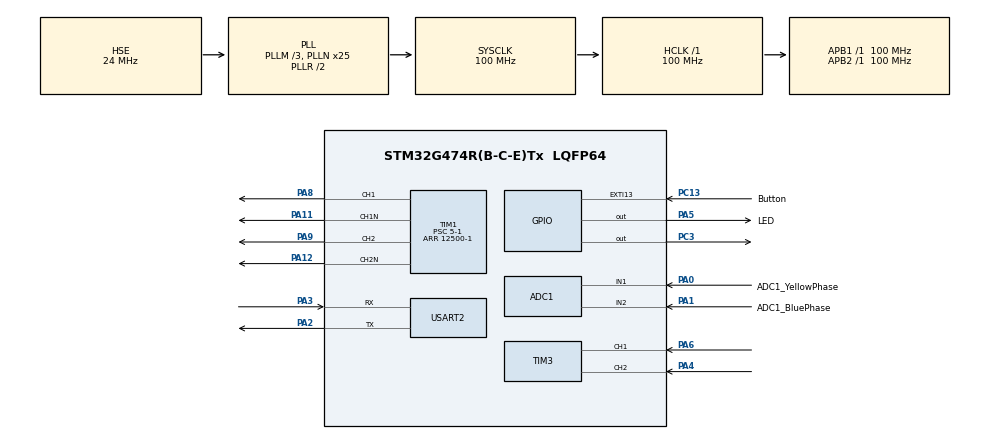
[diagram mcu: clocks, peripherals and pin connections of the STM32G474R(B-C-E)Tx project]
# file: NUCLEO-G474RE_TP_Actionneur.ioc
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ADC1.Channel-0\#ChannelRegularConversion=ADC_CHANNEL_1
ADC1.Channel-1\#ChannelRegularConversion=ADC_CHANNEL_1
ADC1.ContinuousConvMode=DISABLE
ADC1.NbrOfConversion=2
ADC1.NbrOfConversionFlag=1
ADC1.OffsetNumber-0\#ChannelRegularConversion=ADC_OFFSET_NONE
ADC1.OffsetNumber-1\#ChannelRegularConversion=ADC_OFFSET_NONE
ADC1.Rank-0\#ChannelRegularConversion=1
ADC1.Rank-1\#ChannelRegularConversion=2
ADC1.SamplingTime-0\#ChannelRegularConversion=ADC_SAMPLETIME_2CYCLES_5
ADC1.SamplingTime-1\#ChannelRegularConversion=ADC_SAMPLETIME_2CYCLES_5
ADC1.master=1
Mcu.Family=STM32G4
Mcu.Name=STM32G474R(B-C-E)Tx
Mcu.Package=LQFP64
NVIC.ADC1_2_IRQn=true\:0\:0\:false\:false\:true\:true\:true\:true
NVIC.EXTI15_10_IRQn=true\:0\:0\:false\:false\:true\:true\:true\:true
NVIC.PriorityGroup=NVIC_PRIORITYGROUP_4
NVIC.TIM2_IRQn=true\:0\:0\:false\:false\:true\:true\:true\:true
NVIC.TIM3_IRQn=true\:0\:0\:false\:false\:true\:true\:true\:true
NVIC.USART2_IRQn=true\:0\:0\:false\:false\:true\:true\:true\:true
PA0.GPIO_Label=ADC1_YellowPhase
PA0.Mode=IN1-Single-Ended
PA0.Signal=ADC1_IN1
PA1.GPIO_Label=ADC1_BluePhase
PA1.Mode=IN2-Single-Ended
PA1.Signal=ADC1_IN2
PA11.Mode=PWM Generation1 CH1 CH1N
PA11.Signal=TIM1_CH1N
PA12.Mode=PWM Generation2 CH2 CH2N
PA12.Signal=TIM1_CH2N
PA13.GPIO_Label=T_SWDIO
PA13.Mode=Serial_Wire
PA13.Signal=SYS_JTMS-SWDIO
PA14.GPIO_Label=T_SWCLK
PA14.Mode=Serial_Wire
PA14.Signal=SYS_JTCK-SWCLK
PA2.Mode=Asynchronous
PA2.Signal=USART2_TX
PA3.Mode=Asynchronous
PA3.Signal=USART2_RX
PA4.Signal=S_TIM3_CH2
PA5.GPIO_Label=LED
PA5.Signal=GPIO_Output
PA6.Signal=S_TIM3_CH1
PA8.Signal=S_TIM1_CH1
PA9.Signal=S_TIM1_CH2
PB3.GPIO_Label=T_SWO
PB3.Signal=SYS_JTDO-SWO
PC13.GPIO_Label=Button
PC13.Signal=GPXTI13
PC14-OSC32_IN.Mode=LSE-External-Oscillator
PC14-OSC32_IN.Signal=RCC_OSC32_IN
PC15-OSC32_OUT.Mode=LSE-External-Oscillator
PC15-OSC32_OUT.Signal=RCC_OSC32_OUT
PC3.Signal=GPIO_Output
PF0-OSC_IN.Mode=HSE-External-Oscillator
PF0-OSC_IN.Signal=RCC_OSC_IN
PF1-OSC_OUT.Mode=HSE-External-Oscillator
PF1-OSC_OUT.Signal=RCC_OSC_OUT
ProjectManager.HeapSize=0x200
ProjectManager.StackSize=0x400
ProjectManager.TargetToolchain=STM32CubeIDE
RCC.ADC12Freq_Value=100000000
RCC.ADC345Freq_Value=100000000
RCC.AHBFreq_Value=100000000
RCC.APB1Freq_Value=100000000
RCC.APB1TimFreq_Value=100000000
RCC.APB2Freq_Value=100000000
RCC.APB2TimFreq_Value=100000000
RCC.CortexFreq_Value=100000000
RCC.EXTERNAL_CLOCK_VALUE=12288000
RCC.HCLKFreq_Value=100000000
RCC.HSE_VALUE=24000000
RCC.HSI48_VALUE=48000000
RCC.HSI_VALUE=16000000
RCC.PLLM=RCC_PLLM_DIV3
RCC.PLLN=25
RCC.PLLSourceVirtual=RCC_PLLSOURCE_HSE
RCC.RTCClockSelection=RCC_RTCCLKSOURCE_LSE
RCC.SYSCLKFreq_VALUE=100000000
RCC.SYSCLKSource=RCC_SYSCLKSOURCE_PLLCLK
RCC.USBFreq_Value=100000000
RCC.VCOOutputFreq_Value=200000000
SH.S_TIM1_CH1.0=TIM1_CH1,PWM Generation1 CH1 CH1N
SH.S_TIM1_CH2.0=TIM1_CH2,PWM Generation2 CH2 CH2N
SH.S_TIM3_CH1.0=TIM3_CH1,Encoder_Interface
SH.S_TIM3_CH2.0=TIM3_CH2,Encoder_Interface
TIM1.Channel-PWM\ Generation1\ CH1\ CH1N=TIM_CHANNEL_1
TIM1.Channel-PWM\ Generation2\ CH2\ CH2N=TIM_CHANNEL_2
TIM1.CounterMode=TIM_COUNTERMODE_CENTERALIGNED1
TIM1.DeadTime=0xA4
TIM1.OCMode_PWM-PWM\ Generation1\ CH1\ CH1N=TIM_OCMODE_PWM1
TIM1.OCMode_PWM-PWM\ Generation2\ CH2\ CH2N=TIM_OCMODE_PWM1
TIM1.OCNPolarity_1=TIM_OCNPOLARITY_HIGH
TIM1.PeriodNoDither=12500-1
TIM1.Prescaler=5-1
TIM1.PulseNoDither_1=7500-1
TIM1.PulseNoDither_2=12500-7500+1
TIM2.PeriodNoDither=10000
TIM2.Prescaler=0
TIM3.AutoReloadPreload=TIM_AUTORELOAD_PRELOAD_ENABLE
TIM3.EncoderMode=TIM_ENCODERMODE_TI12
TIM3.IC1Filter=10
TIM3.IC2Filter=10
USART2.VirtualMode-Asynchronous=VM_ASYNC
VP_SYS_VS_DBSignals.Mode=DisableDeadBatterySignals
VP_TIM1_VS_ClockSourceINT.Mode=Internal
VP_TIM2_VS_ClockSourceINT.Mode=Internal
board=NUCLEO-G474RE

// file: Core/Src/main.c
/* USER CODE BEGIN Header */
/**
 ******************************************************************************
 * @file           : main.c
 * @brief          : Main program body
 ******************************************************************************
 * Contrôle de la vitesse de rotation d'une machine à courant continu par l'intérmédiaire d'un shell communiquant sur liaison UART.
 *
 ******************************************************************************
 */
/* USER CODE END Header */
#include "main.h"
#include "adc.h"
#include "tim.h"
#include "usart.h"
#include "gpio.h"

/* USER CODE BEGIN Includes */
#include <string.h>
#include "shell.h"
/* USER CODE END Includes */

/* USER CODE BEGIN PD */
#define UART_TX_BUFFER_SIZE 64
#define UART_RX_BUFFER_SIZE 1
#define CMD_BUFFER_SIZE 64
#define MAX_ARGS 9
#define ASCII_LF 0x0A
#define ASCII_CR 0x0D
#define ASCII_DEL 0x7F
/* USER CODE END PD */

/* USER CODE BEGIN PV */
uint8_t prompt[]="user@Nucleo-STM32G431>>";
uint8_t started[]=
		"\r\n*-----------------------------*"
		"\r\n| Welcome on Nucleo-STM32G431 |"
		"\r\n*-----------------------------*"
		"\r\n";
uint8_t newline[]="\r\n";
uint8_t cmdNotFound[]="Command not found\r\n";
uint32_t uartRxReceived;
uint8_t uartRxBuffer[UART_RX_BUFFER_SIZE];
uint8_t uartTxBuffer[UART_TX_BUFFER_SIZE];
static int  ButtonState=0;
float adc_value;
adc_mean_cnt=0;
char adc_value_txt[25];
int encodeur_value1;
int encodeur_value2;
int overflow=0;
int state=0;
int ticks;
float freq;
/* USER CODE END PV */

void SystemClock_Config(void);

/* USER CODE BEGIN 0 */
/**
 * @brief Fonction de gestion des interruptions des timers.
 * @param TIM_HandleTypeDef *htim
 * @return None
 *
 * Interruption de TIM2 : gestion de la lecture de l'encodeur pour mesurer la vitesse de rotation du moteur et lancement d'une conversion de l'UART
 * Interruption de TIM3 : gestion des dépassements du registre de comptage de TIM3 en mode encodeur.
 */
void_TIM_PeriodElapsedCallback(TIM_HandleTypeDef *htim)
{
	if(htim->Instance == TIM2){
		HAL_ADC_Start_IT(&hadc1);

		//Encodeur
		if(state==0){
			encodeur_value1=TIM3->CNT;//CCR1;
			overflow=0;
			state=1;
		}
		else if(state==1){
			encodeur_value2=TIM3->CNT;//CCR1;
			ticks=encodeur_value2 + (overflow * 65535) - encodeur_value2;
			freq = (float) 10000 / (float) ticks;
			state=0;
		}
	}
	if(htim->Instance == TIM3){
		overflow++;
	}
}
/**
 * @brief Fonction de gestion des interruptions de l'ADC.
 * @param ADC_HandleTypeDef *hadc
 * @return None
 *
 * Interruption lors de la fin d'une conversion de l'ADC. Moyennage sur 100 acquisitions et affichage de la valeur convertie.
 */
void HAL_ADC_ConvCpltCallback(ADC_HandleTypeDef *hadc){
	adc_value+=((((float)HAL_ADC_GetValue(&hadc1)*3.3)/4096)-2.5)*12;
	if(adc_mean_cnt>100){
		adc_value/=100;
		sprintf(adc_value_txt,"adc value : %f A\r\n", adc_value);
		adc_mean_cnt=0;
		adc_value=0;
	}
	adc_mean_cnt++;
}
/* USER CODE END 0 */

int main(void)
{
  /* USER CODE BEGIN 1 */
	char	 	cmdBuffer[CMD_BUFFER_SIZE];
	int 		idx_cmd;
	char* 		argv[MAX_ARGS];
	int		 	argc = 0;
	char*		token;
	int 		newCmdReady = 0;

  /* USER CODE END 1 */

  /* MCU Configuration--------------------------------------------------------*/

  /* Reset of all peripherals, Initializes the Flash interface and the Systick. */
  HAL_Init();

  /* Configure the system clock */
  SystemClock_Config();

  /* Initialize all configured peripherals */
  MX_GPIO_Init();
  MX_USART2_UART_Init();
  MX_TIM1_Init();
  MX_ADC1_Init();
  MX_TIM2_Init();
  MX_TIM3_Init();
  /* USER CODE BEGIN 2 */
	HAL_TIM_PWM_Start(&htim1, TIM_CHANNEL_1);
	HAL_TIM_PWM_Start(&htim1, TIM_CHANNEL_2);
	HAL_TIMEx_PWMN_Start(&htim1, TIM_CHANNEL_1);
	HAL_TIMEx_PWMN_Start(&htim1, TIM_CHANNEL_2);

	memset(argv,NULL,MAX_ARGS*sizeof(char*));
	memset(cmdBuffer,NULL,CMD_BUFFER_SIZE*sizeof(char));
	memset(uartRxBuffer,NULL,UART_RX_BUFFER_SIZE*sizeof(char));
	memset(uartTxBuffer,NULL,UART_TX_BUFFER_SIZE*sizeof(char));

	HAL_Delay(10);
	HAL_UART_Transmit(&huart2, started, sizeof(started), HAL_MAX_DELAY);
	HAL_UART_Transmit(&huart2, prompt, sizeof(prompt), HAL_MAX_DELAY);

	HAL_UART_Receive_IT(&huart2, uartRxBuffer, UART_RX_BUFFER_SIZE);

	uint16_t speed = 50*( (uint16_t) TIM_MAX/100);
	__HAL_TIM_SET_COMPARE(&htim1,TIM_CHANNEL_1,speed);
	__HAL_TIM_SET_COMPARE(&htim1,TIM_CHANNEL_2,TIM_MAX-speed);

	//CODE ADC
	HAL_TIM_Base_Start_IT(&htim2);

	//CODE ENCODEUR
	HAL_TIM_Encoder_Start(&htim3,  TIM_CHANNEL_ALL);

  /* USER CODE END 2 */

  /* Infinite loop */
  /* USER CODE BEGIN WHILE */
	while (1)
	{
		// uartRxReceived is set to 1 when a new character is received on uart 1
		if(uartRxReceived){
			switch(uartRxBuffer[0]){
			// Nouvelle ligne, instruction à traiter
			case ASCII_CR:
				HAL_UART_Transmit(&huart2, newline, sizeof(newline), HAL_MAX_DELAY);
				cmdBuffer[idx_cmd] = '\0';
				argc = 0;
				token = strtok(cmdBuffer, " ");
				while(token!=NULL){
					argv[argc++] = token;
					token = strtok(NULL, " ");
				}

				idx_cmd = 0;
				newCmdReady = 1;
				break;
				// Suppression du dernier caractère
			case ASCII_DEL:
				cmdBuffer[idx_cmd--] = '\0';
				HAL_UART_Transmit(&huart2, uartRxBuffer, UART_RX_BUFFER_SIZE, HAL_MAX_DELAY);
				break;
				// Nouveau caractère
			default:
				cmdBuffer[idx_cmd++] = uartRxBuffer[0];
				HAL_UART_Transmit(&huart2, uartRxBuffer, UART_RX_BUFFER_SIZE, HAL_MAX_DELAY);
			}
			uartRxReceived = 0;
		}

		if(newCmdReady){
			handle_command(argv);
			newCmdReady = 0;
		}
    /* USER CODE END WHILE */

	}
}

void SystemClock_Config(void)
{
  RCC_OscInitTypeDef RCC_OscInitStruct = {0};
  RCC_ClkInitTypeDef RCC_ClkInitStruct = {0};

  /** Configure the main internal regulator output voltage
  */
  HAL_PWREx_ControlVoltageScaling(PWR_REGULATOR_VOLTAGE_SCALE1);

  /** Initializes the RCC Oscillators according to the specified parameters
  * in the RCC_OscInitTypeDef structure.
  */
  RCC_OscInitStruct.OscillatorType = RCC_OSCILLATORTYPE_HSE;
  RCC_OscInitStruct.HSEState = RCC_HSE_ON;
  RCC_OscInitStruct.PLL.PLLState = RCC_PLL_ON;
  RCC_OscInitStruct.PLL.PLLSource = RCC_PLLSOURCE_HSE;
  RCC_OscInitStruct.PLL.PLLM = RCC_PLLM_DIV3;
  RCC_OscInitStruct.PLL.PLLN = 25;
  RCC_OscInitStruct.PLL.PLLP = RCC_PLLP_DIV2;
  RCC_OscInitStruct.PLL.PLLQ = RCC_PLLQ_DIV2;
  RCC_OscInitStruct.PLL.PLLR = RCC_PLLR_DIV2;
  if (HAL_RCC_OscConfig(&RCC_OscInitStruct) != HAL_OK)
  {
    Error_Handler();
  }

  /** Initializes the CPU, AHB and APB buses clocks
  */
  RCC_ClkInitStruct.ClockType = RCC_CLOCKTYPE_HCLK|RCC_CLOCKTYPE_SYSCLK
                              |RCC_CLOCKTYPE_PCLK1|RCC_CLOCKTYPE_PCLK2;
  RCC_ClkInitStruct.SYSCLKSource = RCC_SYSCLKSOURCE_PLLCLK;
  RCC_ClkInitStruct.AHBCLKDivider = RCC_SYSCLK_DIV1;
  RCC_ClkInitStruct.APB1CLKDivider = RCC_HCLK_DIV1;
  RCC_ClkInitStruct.APB2CLKDivider = RCC_HCLK_DIV1;

  if (HAL_RCC_ClockConfig(&RCC_ClkInitStruct, FLASH_LATENCY_3) != HAL_OK)
  {
    Error_Handler();
  }
}

/* USER CODE BEGIN 4 */
/**
 * @brief Fonction de gestion des interruptions lors de la réception de l'UART.
 * @param UART_HandleTypeDef * huart
 * @return None
 *
 * Passage de la variable uartRxReceived à 1 et lancement d'une nouvelle acquisition sur interruption.
 */
void HAL_UART_RxCpltCallback (UART_HandleTypeDef * huart){
	uartRxReceived = 1;
	HAL_UART_Receive_IT(&huart2, uartRxBuffer, UART_RX_BUFFER_SIZE);
}

/**
 * @brief Fonction de gestion des interruptions lors de l'appui sur le bouton bleu de la carte STM32.
 * @param uint16_t GPIO_Pin
 * @return None
 *
 * Envoi d'un créneau d'une microseconde sur la pin PC3 pour démarrage du hacheur.
 */
void HAL_GPIO_EXTI_Callback(uint16_t GPIO_Pin)
{
	/* Prevent unused argument(s) compilation warning */
	if(GPIO_Pin == GPIO_PIN_13){
		//ButtonState = 1-ButtonState;
		//HAL_GPIO_WritePin(GPIOC, GPIO_PIN_3, ButtonState);
		HAL_GPIO_WritePin(GPIOC, GPIO_PIN_3, GPIO_PIN_SET);
		HAL_Delay(1);
		HAL_GPIO_WritePin(GPIOC, GPIO_PIN_3, GPIO_PIN_RESET);

}
/* USER CODE END 4 */

void Error_Handler(void)
{
	__disable_irq();
	while (1)
	{
	}
}
